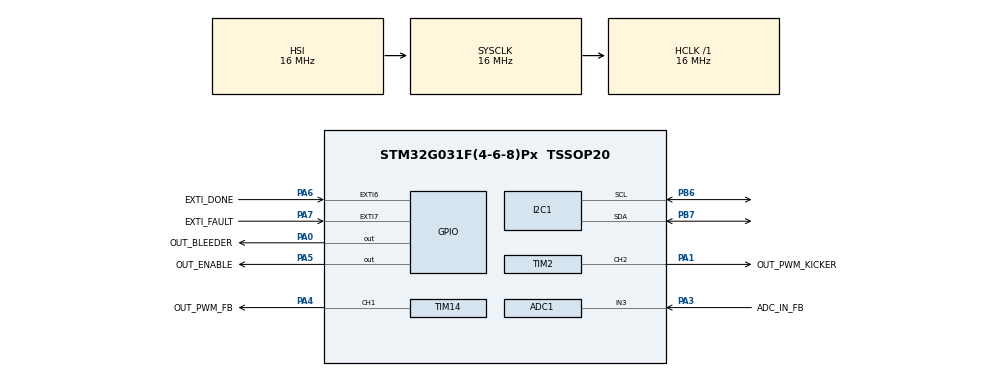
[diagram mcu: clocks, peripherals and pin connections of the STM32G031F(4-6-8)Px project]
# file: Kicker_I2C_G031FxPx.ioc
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ADC1.Channel-0\#ChannelRegularConversion=ADC_CHANNEL_3
ADC1.ContinuousConvMode=ENABLE
ADC1.DMAContinuousRequests=ENABLE
ADC1.NbrOfConversionFlag=1
ADC1.Rank-0\#ChannelRegularConversion=1
ADC1.SamplingTime-0\#ChannelRegularConversion=ADC_SAMPLINGTIME_COMMON_1
ADC1.SamplingTimeCommon1=ADC_SAMPLETIME_160CYCLES_5
ADC1.SamplingTimeCommon2=ADC_SAMPLETIME_160CYCLES_5
ADC1.SelectedChannel=ADC_CHANNEL_3
ADC1.master=1
Dma.ADC1.0.Direction=DMA_PERIPH_TO_MEMORY
Dma.ADC1.0.EventEnable=DISABLE
Dma.ADC1.0.Instance=DMA1_Channel1
Dma.ADC1.0.MemDataAlignment=DMA_MDATAALIGN_HALFWORD
Dma.ADC1.0.MemInc=DMA_MINC_ENABLE
Dma.ADC1.0.Mode=DMA_CIRCULAR
Dma.ADC1.0.PeriphDataAlignment=DMA_PDATAALIGN_HALFWORD
Dma.ADC1.0.PeriphInc=DMA_PINC_DISABLE
Dma.ADC1.0.Polarity=HAL_DMAMUX_REQ_GEN_RISING
Dma.ADC1.0.Priority=DMA_PRIORITY_LOW
Dma.ADC1.0.RequestNumber=1
Dma.ADC1.0.SignalID=NONE
Dma.ADC1.0.SyncEnable=DISABLE
Dma.ADC1.0.SyncPolarity=HAL_DMAMUX_SYNC_NO_EVENT
Dma.ADC1.0.SyncRequestNumber=1
Dma.ADC1.0.SyncSignalID=NONE
Dma.Request0=ADC1
I2C1.OwnAddress=0x27
I2C1.Timing=0x00503D58
Mcu.Family=STM32G0
Mcu.Name=STM32G031F(4-6-8)Px
Mcu.Package=TSSOP20
NVIC.DMA1_Channel1_IRQn=true\:0\:0\:false\:false\:true\:false\:true\:true
NVIC.EXTI4_15_IRQn=true\:0\:0\:false\:false\:true\:true\:true\:true
NVIC.I2C1_IRQn=true\:0\:0\:false\:false\:true\:true\:true\:true
NVIC.TIM3_IRQn=true\:0\:0\:false\:false\:true\:true\:true\:true
PA0.GPIO_Label=OUT_BLEEDER
PA0.Signal=GPIO_Output
PA1.GPIO_Label=OUT_PWM_KICKER
PA1.Signal=S_TIM2_CH2
PA13.Mode=Serial_Wire
PA13.Signal=SYS_SWDIO
PA14-BOOT0.Mode=Serial_Wire
PA14-BOOT0.Signal=SYS_SWCLK
PA14-BOOT0__PA15.StandardMode=true
PA3.GPIO_Label=ADC_IN_FB
PA3.Mode=IN3
PA3.Signal=ADC1_IN3
PA4.GPIO_Label=OUT_PWM_FB
PA4.Signal=S_TIM14_CH1
PA5.GPIO_Label=OUT_ENABLE
PA5.Signal=GPIO_Output
PA6.GPIO_Label=EXTI_DONE
PA6.GPIO_ModeDefaultEXTI=GPIO_MODE_IT_RISING_FALLING
PA6.Signal=GPXTI6
PA7.GPIO_Label=EXTI_FAULT
PA7.GPIO_ModeDefaultEXTI=GPIO_MODE_IT_RISING_FALLING
PA7.Signal=GPXTI7
PB0__PB1__PB2__PA8.StandardMode=true
PB3__PB4__PB5__PB6.StandardMode=true
PB6.Mode=I2C
PB6.Signal=I2C1_SCL
PB7.Mode=I2C
PB7.Signal=I2C1_SDA
PB7__PB8.StandardMode=true
PC14-OSC32_IN\ (PC14)__PB9.StandardMode=true
ProjectManager.HeapSize=0x200
ProjectManager.StackSize=0x400
ProjectManager.TargetToolchain=STM32CubeIDE
RCC.AHBFreq_Value=16000000
RCC.CortexFreq_Value=16000000
RCC.EXTERNAL_CLOCK_VALUE=12288000
RCC.HCLKFreq_Value=16000000
RCC.HSE_VALUE=8000000
RCC.HSI_VALUE=16000000
RCC.LSE_VALUE=32768
RCC.SYSCLKFreq_VALUE=16000000
RCC.VCOOutputFreq_Value=128000000
SH.S_TIM14_CH1.0=TIM14_CH1,PWM Generation1 CH1
SH.S_TIM2_CH2.0=TIM2_CH2,PWM Generation2 CH2
TIM14.Channel=TIM_CHANNEL_1
TIM14.Period=1000 - 1
TIM2.Channel-PWM\ Generation2\ CH2=TIM_CHANNEL_2
TIM2.OCMode_PWM-PWM\ Generation2\ CH2=TIM_OCMODE_PWM2
TIM2.Period=1000 - 1
TIM2.Prescaler=0
TIM2.Pulse-PWM\ Generation2\ CH2=1000
TIM3.Period=5000 - 1
TIM3.Prescaler=16000-1
TIM3.TIM_MasterOutputTrigger=TIM_TRGO_ENABLE
VP_TIM14_VS_ClockSourceINT.Mode=Enable_Timer
VP_TIM2_VS_ClockSourceINT.Mode=Internal
VP_TIM2_VS_ClockSourceITR.Mode=TriggerSource_ITR2
VP_TIM2_VS_ControllerModeGated.Mode=Gated Mode
VP_TIM3_VS_ClockSourceINT.Mode=Internal
VP_TIM3_VS_OPM.Mode=OPM_bit
board=custom

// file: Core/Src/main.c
/* USER CODE BEGIN Header */
/**
  ******************************************************************************
  * @file           : main.c
  * @brief          : Main program body
  ******************************************************************************
  * @attention
  *
  * Copyright (c) 2026 STMicroelectronics.
  * All rights reserved.
  *
  * This software is licensed under terms that can be found in the LICENSE file
  * in the root directory of this software component.
  * If no LICENSE file comes with this software, it is provided AS-IS.
  *
  ******************************************************************************
  */
/* USER CODE END Header */
#include "main.h"

/* USER CODE BEGIN PD */

#define I2C_SLAVE_ADDR 0x27

/*
 * Mapa de Registradores do Kicker
 * Registradores de escrita e/ou leitura
 * */
#define REG_VERSION         0x00
#define REG_BOARD_STATUS    0x01
#define REG_FB_DUTY         0X02
#define REG_VSEC            0x03
#define REG_VSEC_SET        0x04
#define REG_KICK_DURATION   0x05
#define REG_KICK_DUTY       0x06
#define REG_VPRI_1          0x07
#define REG_VPRI_2          0x08

/*
 * Registradores de comando
 * */
#define REG_BOARD_RESET     0xA0
#define REG_CHARGE_ENABLE   0xA1
#define REG_KICK_START      0xA2
#define REG_BLEEDER_ENABLE  0xA3

/*
 * Mascaras de status da placa
 * */
#define BOARD_STATUS_CHARGE               (1U << 0)
#define BOARD_STATUS_KICK                 (1U << 1)
#define BOARD_STATUS_BLEEDER              (1U << 2)
#define BOARD_STATUS_FAULT                (1U << 3)
#define BOARD_STATUS_DONE                 (1U << 4)
#define BOARD_STATUS_OV_TRIP              (1U << 5)
#define BOARD_STATUS_I2C_LAST_REG_ERROR   (1U << 6)
#define BOARD_STATUS_I2C_LAST_VALUE_ERROR (1U << 7)

/*
 * Comandos de start e stop
 * */
#define COMMAND_STOP  0x00
#define COMMAND_START 0x01

/*
 * Limites dos registradores
 * */
#define V_SEC_SET_MIN       48U     /* Tensao minima permitida como setpoint */
#define V_SEC_SET_MAX       180U    /* Tensao maxima permitida como setpoint */
#define KICK_DURATION_MIN   1U	 	/* Duracao minima do chute, em ms */
#define KICK_DURATION_MAX   255U	/* Duracao maxima do chute, em ms */
#define KICK_DUTY_MIN       10U		/* Duty minimo do chute, em % */
#define KICK_DUTY_MAX       100U	/* Duty maximno do chute, em % */

/*
 * Limites internos de calculos
 * */

/*
 * Medicao de tensao
 */
#define V_SEC_MAX           3500U   /* Tensao de seguranca para o OV_TRIP */
#define ADC_VSEC_CAL        0U	    /* Calibração de zero do ADC */
#define V_ANALOG_MAX_MV     3300U   /* Referencia tensao analogica, em mV */
#define ANALOG_RESOLUTION   4095U   /* Resolucao do ADC */

/*
 * Feedback
 */
#define PWM_FB_DUTY_SETPOINT 369U   /* Duty na regiao de regulacao */
#define PWM_FB_DUTY_MAX      1000U  /* CCR maximo do PWM do FB */

/*
 * Kick
 */
#define KICK_PWM_CCR_MAX    1000U  /* CCR maximo do PWM do kick */

/* USER CODE END PD */

ADC_HandleTypeDef hadc1;
DMA_HandleTypeDef hdma_adc1;

I2C_HandleTypeDef hi2c1;

TIM_HandleTypeDef htim2;
TIM_HandleTypeDef htim3;
TIM_HandleTypeDef htim14;

/* USER CODE BEGIN PV */

uint8_t tx_byte;
uint8_t rx_byte;
uint8_t rx_bytes_count = 0;
uint8_t reg_index;

volatile uint8_t board_version = 1;
volatile uint8_t board_status = 0;
volatile uint8_t v_sec = 0;
volatile uint8_t v_sec_set= 48;
volatile uint8_t fb_duty = 0;

volatile uint8_t kick_duration = 100;
volatile uint8_t kick_duty = 50;

volatile uint8_t v_pri_1 = 0;
volatile uint8_t v_pri_2 = 0;
volatile uint8_t i_pri = 0;

volatile uint8_t start_kick = 0;
volatile uint8_t enable_charge = 0;
volatile uint8_t enable_bleeder= 0;

volatile uint8_t has_update = 0;
volatile uint8_t  reg_to_update = 0;
volatile uint8_t value_to_update = 0;

volatile uint16_t adc_raw_vcap = 0;

volatile uint16_t adc_raw_v_sec = 0;
volatile uint32_t v_sec_adc_mv = 0;
volatile uint32_t fb_duty_calc = 0;

volatile uint8_t kick_finished = 0;

volatile uint8_t * const registers[] =
{
	&board_version,
	&board_status,
	&fb_duty,
	&v_sec,
	&v_sec_set,
	&kick_duration,
	&kick_duty,
	&v_pri_1,
	&v_pri_2,
	&i_pri
};

volatile uint16_t kick_pwm_ccr_max = 0;

uint8_t read_reg_count = sizeof(registers) / sizeof(registers[0]);

volatile uint8_t fault_pin_low = 0;

/* USER CODE END PV */

void SystemClock_Config(void);
static void MX_GPIO_Init(void);
static void MX_DMA_Init(void);
static void MX_I2C1_Init(void);
static void MX_ADC1_Init(void);
static void MX_TIM2_Init(void);
static void MX_TIM3_Init(void);
static void MX_TIM14_Init(void);
/* USER CODE BEGIN PFP */

void Board_Reset();
void Board_Charge_Enable();
void Board_Charge_Disable();
void Board_Bleeder_Enable();
void Board_Bleeder_Disable();
void Board_Kick_Start();
void Board_Kick_Stop();
void Board_Kick_Off();
void Board_Kick_Set_PWM(uint8_t duty);
void Board_Kick_Set_Pulse_Duration(uint8_t duration);
void Board_Kick_Pulse_Stop();

void Board_FB_Calculate();
void Board_FB_Idle();

void Board_Status_Set_Flag(uint8_t flag_mask);
void Board_Status_Clear_Flag(uint8_t flag_mask);
uint8_t Board_Status_Get_Flag(uint8_t flag_mask);

void Board_Vsec_Calculate();

void Board_OV_Trip_Verify();

/* USER CODE END PFP */

/* USER CODE BEGIN 0 */

void Board_Reset()
{
	Board_Charge_Disable();
	Board_Bleeder_Enable();
	Board_Status_Clear_Flag(BOARD_STATUS_OV_TRIP);
	Board_Status_Clear_Flag(BOARD_STATUS_I2C_LAST_REG_ERROR);
	Board_Status_Clear_Flag(BOARD_STATUS_I2C_LAST_VALUE_ERROR);
}

void Board_Charge_Enable()
{
	uint8_t ov_trip = Board_Status_Get_Flag(BOARD_STATUS_OV_TRIP);
	uint8_t fault = Board_Status_Get_Flag(BOARD_STATUS_FAULT);

//	if (!ov_trip && !fault)
	if (!ov_trip)
	{
	  Board_Bleeder_Disable();
	  HAL_GPIO_WritePin(OUT_ENABLE_GPIO_Port, OUT_ENABLE_Pin, GPIO_PIN_SET);
	  Board_Status_Set_Flag(BOARD_STATUS_CHARGE);
	}
}

void Board_Charge_Disable()
{
	HAL_GPIO_WritePin(OUT_ENABLE_GPIO_Port, OUT_ENABLE_Pin, GPIO_PIN_RESET);
	Board_Status_Clear_Flag(BOARD_STATUS_CHARGE);
	Board_FB_Idle();
}

void Board_Bleeder_Enable()
{
	Board_Charge_Disable();
	HAL_GPIO_WritePin(
			OUT_BLEEDER_GPIO_Port,
			OUT_BLEEDER_Pin,
			GPIO_PIN_RESET
			);
	Board_Status_Set_Flag(BOARD_STATUS_BLEEDER);
}

void Board_Bleeder_Disable()
{
	HAL_GPIO_WritePin(
			OUT_BLEEDER_GPIO_Port,
			OUT_BLEEDER_Pin,
			GPIO_PIN_SET
			);
	Board_Status_Clear_Flag(BOARD_STATUS_BLEEDER);
}

void Board_Kick_Start()
{
	Board_Charge_Disable();
    kick_finished = 0;
    Board_Kick_Set_PWM(kick_duty);
    Board_Kick_Set_Pulse_Duration(kick_duration);
//    Board_Status_Set_Flag(BOARD_STATUS_KICK);
}

void Board_Kick_Stop()
{
	Board_Kick_Off();
	Board_Kick_Pulse_Stop();
//	Board_Status_Clear_Flag(BOARD_STATUS_KICK);
//	Board_Charge_Enable();
}

void Board_Kick_Off()
{
	Board_Kick_Set_PWM(0U);
	Board_Kick_Pulse_Stop();
//	Board_Status_Clear_Flag(BOARD_STATUS_KICK);
}

/*
 * Configura o TIM2 para gerar um PWM com um determinado duty.
 * PWM Modo 2 é invertido - CCR máximo é duty zero, e vice-versa.
 * Atualiza o CCR para o registrador ativo e limpa a flag de update.
 */
void Board_Kick_Set_PWM(uint8_t duty)
{
	/* Seta o registrador CCR */
	uint16_t ccr = (uint16_t)(kick_pwm_ccr_max - (duty * 10));
	__HAL_TIM_SET_COMPARE(&htim2, TIM_CHANNEL_2, ccr);
	__HAL_TIM_SET_COUNTER(&htim2, 0);

	/* Atualiza o novo CCR para o registrador ativo no PWM*/
	HAL_TIM_GenerateEvent(&htim2, TIM_EVENTSOURCE_UPDATE);

	/* Limpa a tag de atualização, pois não querenmos tratá-la */
    __HAL_TIM_CLEAR_FLAG(&htim2, TIM_FLAG_UPDATE);
}

/*
 * Configura o TIM3 para gerar um pulso com a duracao do chute.
 */
void Board_Kick_Set_Pulse_Duration(uint8_t duration)
{
   __HAL_TIM_SET_AUTORELOAD(&htim3, duration);
   __HAL_TIM_SET_COUNTER(&htim3, 0);
   __HAL_TIM_CLEAR_FLAG(&htim3, TIM_FLAG_UPDATE);

   /* Inicia o TIM_3 (gerador de pulsos) */
   HAL_TIM_Base_Start_IT(&htim3);
}

/*
 * Força o stop do gerador de pulsos do kick
 */
void Board_Kick_Pulse_Stop()
{
	/*
	 * Interrompe o TIM_3 (gerador de pulsos)
	 * Zera o contador
	 * Limpa o flag de update
	 *
	 */
    HAL_TIM_Base_Stop_IT(&htim3);
    __HAL_TIM_SET_COUNTER(&htim3, 0U);
    __HAL_TIM_CLEAR_FLAG(&htim3, TIM_FLAG_UPDATE);
}

void Board_FB_Calculate()
{
	/* Se o setpoint for zero, mantém o feedback em Idle */
    if (v_sec_set == 0)
    {
        Board_FB_Idle();
        return;
    }

    /* Obtém o duty utilizado para calculos internos,
     * com resolucao de 32 bits para evitar overflow. */
	fb_duty_calc  = ((uint32_t)(v_sec_adc_mv * PWM_FB_DUTY_SETPOINT) / (uint32_t)(v_sec_set * 10));

	/* Saturacao do duty maximo */
	if (fb_duty_calc > PWM_FB_DUTY_MAX)
	{
	  fb_duty_calc = PWM_FB_DUTY_MAX;
	}

	/* Seta o CCR com o duty calculado */
	__HAL_TIM_SET_COMPARE(
			&htim14,
			TIM_CHANNEL_1,
			(uint16_t) fb_duty_calc
			);

	// Converte o duty para o registrador de 8 bits
	fb_duty = (uint8_t)(fb_duty_calc / 10U);
}

void Board_FB_Idle()
{
	__HAL_TIM_SET_COMPARE(&htim14, TIM_CHANNEL_1, PWM_FB_DUTY_MAX);
	fb_duty = 100;
}

void Board_Status_Set_Flag(uint8_t flag_mask)
{
	board_status |= flag_mask;
}

void Board_Status_Clear_Flag(uint8_t flag_mask)
{
	board_status &= ~flag_mask;
}

uint8_t Board_Status_Get_Flag(uint8_t flag_mask)
{
  return ((board_status & flag_mask) != 0U);
}

void Board_Vsec_Calculate()
{
	/* Obtem a tensao no adc do secundario em mv,
	 * utilizado nos calculos internos */
	v_sec_adc_mv = ((uint32_t)adc_raw_v_sec * V_ANALOG_MAX_MV) / ANALOG_RESOLUTION;

	// Converte para o v_sec de 8 bits, utilizado no I2C
	v_sec = (v_sec_adc_mv > 2550) ? 255 : (uint8_t)(v_sec_adc_mv / 10);

}

void Board_OV_Trip_Verify()
{
	if ( v_sec_adc_mv > V_SEC_MAX &&
			Board_Status_Get_Flag(BOARD_STATUS_OV_TRIP) == 0U
			)
	{
	/* Ativa o trip por tensao alta */
	Board_Status_Set_Flag(BOARD_STATUS_OV_TRIP);
	}
}

/* USER CODE END 0 */

int main(void)
{

  /* MCU Configuration--------------------------------------------------------*/

  /* Reset of all peripherals, Initializes the Flash interface and the Systick. */
  HAL_Init();

  /* Configure the system clock */
  SystemClock_Config();

  /* Initialize all configured peripherals */
  MX_GPIO_Init();
  MX_DMA_Init();
  MX_I2C1_Init();
  MX_ADC1_Init();
  MX_TIM2_Init();
  MX_TIM3_Init();
  MX_TIM14_Init();
  /* USER CODE BEGIN 2 */

  if (HAL_ADCEx_Calibration_Start(&hadc1) != HAL_OK)
  {
      Error_Handler();
  }

  HAL_ADC_Start_DMA(&hadc1, (uint32_t *)&adc_raw_vcap, 1);
  __HAL_DMA_DISABLE_IT(&hdma_adc1, DMA_IT_HT);
  __HAL_DMA_DISABLE_IT(&hdma_adc1, DMA_IT_TC);

  HAL_I2C_EnableListen_IT(&hi2c1);

  __HAL_TIM_SET_COMPARE(&htim14, TIM_CHANNEL_1, 0);
  HAL_TIM_PWM_Start(&htim14, TIM_CHANNEL_1);

  kick_pwm_ccr_max = __HAL_TIM_GET_AUTORELOAD(&htim2) + 1;
  __HAL_TIM_SET_COMPARE(&htim2, TIM_CHANNEL_2, kick_pwm_ccr_max);
  HAL_TIM_PWM_Start(&htim2, TIM_CHANNEL_2);

  Board_Bleeder_Enable();

  kick_duration = 100;
  kick_duty = 100;
  v_sec_set = 48;

//	HAL_TIM_PWM_Start(&htim2, TIM_CHANNEL_1);

  /* USER CODE END 2 */

  /* Infinite loop */
  /* USER CODE BEGIN WHILE */
  while (1)
  {
	  Board_Vsec_Calculate();
	  Board_FB_Calculate();
	  Board_OV_Trip_Verify();

	  /* Trip por tensao alta
	   * Desabilita a carga e descarrega os capacitores pelo bleeder
	   */
	  if (Board_Status_Get_Flag(BOARD_STATUS_OV_TRIP))
	  {
		  if (Board_Status_Get_Flag(BOARD_STATUS_CHARGE))
		  {
			  Board_Charge_Disable();
		  }
		  Board_Bleeder_Enable();
	  }

	  /* Atuacao do fault ou done
	   * Apenas desabilita o carregamento
	   */

	  /*
	  if (Board_Status_Get_Flag(BOARD_STATUS_DONE)  ||
		  Board_Status_Get_Flag(BOARD_STATUS_FAULT)
		  )
	  {
		  if (Board_Status_Get_Flag(BOARD_STATUS_CHARGE))
		  {
			  Board_Charge_Disable();
		  }
	  }
	  */

	  /* Situacao normal
	   * Gera o sinal de feedback
	   */

	  if (Board_Status_Get_Flag(BOARD_STATUS_CHARGE))
	  {

	  }

	  if (has_update)
	  {
		  has_update = 0;

		  switch(reg_to_update)
		  {

		  	  case (REG_VSEC_SET):
				  if (value_to_update >= 0 && value_to_update <= V_SEC_SET_MAX)
				  {
					  v_sec_set = value_to_update;
				  }
				  else
				  {
					  board_status |= BOARD_STATUS_I2C_LAST_VALUE_ERROR;				/* Seta o flag de erro de valor I2c */
				  }
		  	  break;
		  	  case (REG_KICK_DURATION):
				  if (value_to_update >= KICK_DURATION_MIN && value_to_update <= KICK_DURATION_MAX)
				  {
					  kick_duration = value_to_update;
				  }
				  else
				  {
					  board_status |= BOARD_STATUS_I2C_LAST_VALUE_ERROR;				/* Seta o flag de erro de valor I2c */
				  }
		  	  break;
		  	  case (REG_KICK_DUTY):
				  if (value_to_update >= KICK_DUTY_MIN && value_to_update <= KICK_DUTY_MAX)
				  {
					  kick_duty = value_to_update;
				  }
				  else
				  {
					  board_status |= BOARD_STATUS_I2C_LAST_VALUE_ERROR;				/* Seta o flag de erro de valor I2c */
				  }
		  	  break;

		  	  case (REG_KICK_START):
				  if (value_to_update == COMMAND_START)
				  {
					  if (!(board_status & BOARD_STATUS_KICK))
					  {
						  Board_Kick_Start();
					  }
				  }
				  else if (value_to_update == COMMAND_STOP)
				  {
					  if (board_status & BOARD_STATUS_KICK)
					  {
						  Board_Kick_Stop();
					  }
				  }
				  else
				  {
					  board_status |= BOARD_STATUS_I2C_LAST_VALUE_ERROR;				/* Seta o flag de erro de valor I2c */
				  }
		  	  break;

		  	  case (REG_CHARGE_ENABLE):
				  if (value_to_update == COMMAND_START)
				  {
					  if (!(board_status & BOARD_STATUS_CHARGE))
					  {
						  Board_Charge_Enable();
					  }
				  }
				  else if (value_to_update == COMMAND_STOP)
				  {
					  if (board_status & BOARD_STATUS_CHARGE)
					  {
						  Board_Charge_Disable();
					  }
				  }
				  else
				  {
					  board_status |= BOARD_STATUS_I2C_LAST_VALUE_ERROR;				/* Seta o flag de erro de valor I2c */
				  }
		  	  break;

		  	  case (REG_BLEEDER_ENABLE):
				  if (value_to_update == COMMAND_START)
				  {
					  if (!(board_status & BOARD_STATUS_BLEEDER))
					  {
						  Board_Bleeder_Enable();
					  }
				  }
				  else if (value_to_update == COMMAND_STOP)
				  {
					  if (board_status & BOARD_STATUS_BLEEDER)
					  {
						  Board_Bleeder_Disable();
					  }
				  }
				  else
				  {
					  board_status |= BOARD_STATUS_I2C_LAST_VALUE_ERROR;				/* Seta o flag de erro de valor I2c */
				  }
		  	  break;

		  	  case (REG_BOARD_RESET):
				  if (value_to_update == COMMAND_START)
				  {
					  Board_Reset();
				  }
				  else
				  {
					  board_status |= BOARD_STATUS_I2C_LAST_VALUE_ERROR;				/* Seta o flag de erro de valor I2c */
				  }
		  	  break;

		  	  default:
		  		  board_status |= BOARD_STATUS_I2C_LAST_REG_ERROR;				/* Seta o flag de erro de registrador I2c */
              break;

		  }

	  }

    /* USER CODE END WHILE */

  }
}

void SystemClock_Config(void)
{
  RCC_OscInitTypeDef RCC_OscInitStruct = {0};
  RCC_ClkInitTypeDef RCC_ClkInitStruct = {0};

  /** Configure the main internal regulator output voltage
  */
  HAL_PWREx_ControlVoltageScaling(PWR_REGULATOR_VOLTAGE_SCALE1);

  /** Initializes the RCC Oscillators according to the specified parameters
  * in the RCC_OscInitTypeDef structure.
  */
  RCC_OscInitStruct.OscillatorType = RCC_OSCILLATORTYPE_HSI;
  RCC_OscInitStruct.HSIState = RCC_HSI_ON;
  RCC_OscInitStruct.HSIDiv = RCC_HSI_DIV1;
  RCC_OscInitStruct.HSICalibrationValue = RCC_HSICALIBRATION_DEFAULT;
  RCC_OscInitStruct.PLL.PLLState = RCC_PLL_NONE;
  if (HAL_RCC_OscConfig(&RCC_OscInitStruct) != HAL_OK)
  {
    Error_Handler();
  }

  /** Initializes the CPU, AHB and APB buses clocks
  */
  RCC_ClkInitStruct.ClockType = RCC_CLOCKTYPE_HCLK|RCC_CLOCKTYPE_SYSCLK
                              |RCC_CLOCKTYPE_PCLK1;
  RCC_ClkInitStruct.SYSCLKSource = RCC_SYSCLKSOURCE_HSI;
  RCC_ClkInitStruct.AHBCLKDivider = RCC_SYSCLK_DIV1;
  RCC_ClkInitStruct.APB1CLKDivider = RCC_HCLK_DIV1;

  if (HAL_RCC_ClockConfig(&RCC_ClkInitStruct, FLASH_LATENCY_0) != HAL_OK)
  {
    Error_Handler();
  }
}

static void MX_ADC1_Init(void)
{

  ADC_ChannelConfTypeDef sConfig = {0};

  /** Configure the global features of the ADC (Clock, Resolution, Data Alignment and number of conversion)
  */
  hadc1.Instance = ADC1;
  hadc1.Init.ClockPrescaler = ADC_CLOCK_SYNC_PCLK_DIV2;
  hadc1.Init.Resolution = ADC_RESOLUTION_12B;
  hadc1.Init.DataAlign = ADC_DATAALIGN_RIGHT;
  hadc1.Init.ScanConvMode = ADC_SCAN_DISABLE;
  hadc1.Init.EOCSelection = ADC_EOC_SINGLE_CONV;
  hadc1.Init.LowPowerAutoWait = DISABLE;
  hadc1.Init.LowPowerAutoPowerOff = DISABLE;
  hadc1.Init.ContinuousConvMode = ENABLE;
  hadc1.Init.NbrOfConversion = 1;
  hadc1.Init.ExternalTrigConv = ADC_SOFTWARE_START;
  hadc1.Init.ExternalTrigConvEdge = ADC_EXTERNALTRIGCONVEDGE_NONE;
  hadc1.Init.DMAContinuousRequests = ENABLE;
  hadc1.Init.Overrun = ADC_OVR_DATA_PRESERVED;
  hadc1.Init.SamplingTimeCommon1 = ADC_SAMPLETIME_160CYCLES_5;
  hadc1.Init.SamplingTimeCommon2 = ADC_SAMPLETIME_160CYCLES_5;
  hadc1.Init.OversamplingMode = DISABLE;
  hadc1.Init.TriggerFrequencyMode = ADC_TRIGGER_FREQ_HIGH;
  if (HAL_ADC_Init(&hadc1) != HAL_OK)
  {
    Error_Handler();
  }

  /** Configure Regular Channel
  */
  sConfig.Channel = ADC_CHANNEL_3;
  sConfig.Rank = ADC_REGULAR_RANK_1;
  sConfig.SamplingTime = ADC_SAMPLINGTIME_COMMON_1;
  if (HAL_ADC_ConfigChannel(&hadc1, &sConfig) != HAL_OK)
  {
    Error_Handler();
  }

}

static void MX_I2C1_Init(void)
{

  hi2c1.Instance = I2C1;
  hi2c1.Init.Timing = 0x00503D58;
  hi2c1.Init.OwnAddress1 = 78;
  hi2c1.Init.AddressingMode = I2C_ADDRESSINGMODE_7BIT;
  hi2c1.Init.DualAddressMode = I2C_DUALADDRESS_DISABLE;
  hi2c1.Init.OwnAddress2 = 0;
  hi2c1.Init.OwnAddress2Masks = I2C_OA2_NOMASK;
  hi2c1.Init.GeneralCallMode = I2C_GENERALCALL_DISABLE;
  hi2c1.Init.NoStretchMode = I2C_NOSTRETCH_DISABLE;
  if (HAL_I2C_Init(&hi2c1) != HAL_OK)
  {
    Error_Handler();
  }

  /** Configure Analogue filter
  */
  if (HAL_I2CEx_ConfigAnalogFilter(&hi2c1, I2C_ANALOGFILTER_ENABLE) != HAL_OK)
  {
    Error_Handler();
  }

  /** Configure Digital filter
  */
  if (HAL_I2CEx_ConfigDigitalFilter(&hi2c1, 0) != HAL_OK)
  {
    Error_Handler();
  }

}

static void MX_TIM2_Init(void)
{

  TIM_ClockConfigTypeDef sClockSourceConfig = {0};
  TIM_SlaveConfigTypeDef sSlaveConfig = {0};
  TIM_MasterConfigTypeDef sMasterConfig = {0};
  TIM_OC_InitTypeDef sConfigOC = {0};

  htim2.Instance = TIM2;
  htim2.Init.Prescaler = 0;
  htim2.Init.CounterMode = TIM_COUNTERMODE_UP;
  htim2.Init.Period = 1000 - 1;
  htim2.Init.ClockDivision = TIM_CLOCKDIVISION_DIV1;
  htim2.Init.AutoReloadPreload = TIM_AUTORELOAD_PRELOAD_DISABLE;
  if (HAL_TIM_Base_Init(&htim2) != HAL_OK)
  {
    Error_Handler();
  }
  sClockSourceConfig.ClockSource = TIM_CLOCKSOURCE_INTERNAL;
  if (HAL_TIM_ConfigClockSource(&htim2, &sClockSourceConfig) != HAL_OK)
  {
    Error_Handler();
  }
  if (HAL_TIM_PWM_Init(&htim2) != HAL_OK)
  {
    Error_Handler();
  }
  sSlaveConfig.SlaveMode = TIM_SLAVEMODE_GATED;
  sSlaveConfig.InputTrigger = TIM_TS_ITR2;
  if (HAL_TIM_SlaveConfigSynchro(&htim2, &sSlaveConfig) != HAL_OK)
  {
    Error_Handler();
  }
  sMasterConfig.MasterOutputTrigger = TIM_TRGO_RESET;
  sMasterConfig.MasterSlaveMode = TIM_MASTERSLAVEMODE_DISABLE;
  if (HAL_TIMEx_MasterConfigSynchronization(&htim2, &sMasterConfig) != HAL_OK)
  {
    Error_Handler();
  }
  sConfigOC.OCMode = TIM_OCMODE_PWM2;
  sConfigOC.Pulse = 1000;
  sConfigOC.OCPolarity = TIM_OCPOLARITY_HIGH;
  sConfigOC.OCFastMode = TIM_OCFAST_DISABLE;
  if (HAL_TIM_PWM_ConfigChannel(&htim2, &sConfigOC, TIM_CHANNEL_2) != HAL_OK)
  {
    Error_Handler();
  }
  HAL_TIM_MspPostInit(&htim2);

}

static void MX_TIM3_Init(void)
{

  TIM_ClockConfigTypeDef sClockSourceConfig = {0};
  TIM_MasterConfigTypeDef sMasterConfig = {0};

  htim3.Instance = TIM3;
  htim3.Init.Prescaler = 16000-1;
  htim3.Init.CounterMode = TIM_COUNTERMODE_UP;
  htim3.Init.Period = 5000 - 1;
  htim3.Init.ClockDivision = TIM_CLOCKDIVISION_DIV1;
  htim3.Init.AutoReloadPreload = TIM_AUTORELOAD_PRELOAD_DISABLE;
  if (HAL_TIM_Base_Init(&htim3) != HAL_OK)
  {
    Error_Handler();
  }
  sClockSourceConfig.ClockSource = TIM_CLOCKSOURCE_INTERNAL;
  if (HAL_TIM_ConfigClockSource(&htim3, &sClockSourceConfig) != HAL_OK)
  {
    Error_Handler();
  }
  if (HAL_TIM_OnePulse_Init(&htim3, TIM_OPMODE_SINGLE) != HAL_OK)
  {
    Error_Handler();
  }
  sMasterConfig.MasterOutputTrigger = TIM_TRGO_ENABLE;
  sMasterConfig.MasterSlaveMode = TIM_MASTERSLAVEMODE_DISABLE;
  if (HAL_TIMEx_MasterConfigSynchronization(&htim3, &sMasterConfig) != HAL_OK)
  {
    Error_Handler();
  }

}

static void MX_TIM14_Init(void)
{

  TIM_OC_InitTypeDef sConfigOC = {0};

  htim14.Instance = TIM14;
  htim14.Init.Prescaler = 0;
  htim14.Init.CounterMode = TIM_COUNTERMODE_UP;
  htim14.Init.Period = 1000 - 1;
  htim14.Init.ClockDivision = TIM_CLOCKDIVISION_DIV1;
  htim14.Init.AutoReloadPreload = TIM_AUTORELOAD_PRELOAD_DISABLE;
  if (HAL_TIM_Base_Init(&htim14) != HAL_OK)
  {
    Error_Handler();
  }
  if (HAL_TIM_PWM_Init(&htim14) != HAL_OK)
  {
    Error_Handler();
  }
  sConfigOC.OCMode = TIM_OCMODE_PWM1;
  sConfigOC.Pulse = 0;
  sConfigOC.OCPolarity = TIM_OCPOLARITY_HIGH;
  sConfigOC.OCFastMode = TIM_OCFAST_DISABLE;
  if (HAL_TIM_PWM_ConfigChannel(&htim14, &sConfigOC, TIM_CHANNEL_1) != HAL_OK)
  {
    Error_Handler();
  }
  HAL_TIM_MspPostInit(&htim14);

}

static void MX_DMA_Init(void)
{

  /* DMA controller clock enable */
  __HAL_RCC_DMA1_CLK_ENABLE();

  /* DMA interrupt init */
  /* DMA1_Channel1_IRQn interrupt configuration */
  HAL_NVIC_SetPriority(DMA1_Channel1_IRQn, 0, 0);
  HAL_NVIC_EnableIRQ(DMA1_Channel1_IRQn);

}

static void MX_GPIO_Init(void)
{
  GPIO_InitTypeDef GPIO_InitStruct = {0};

  /* GPIO Ports Clock Enable */
  __HAL_RCC_GPIOB_CLK_ENABLE();
  __HAL_RCC_GPIOA_CLK_ENABLE();

  /*Configure GPIO pin Output Level */
  HAL_GPIO_WritePin(GPIOA, OUT_BLEEDER_Pin|OUT_ENABLE_Pin, GPIO_PIN_RESET);

  /*Configure GPIO pins : OUT_BLEEDER_Pin OUT_ENABLE_Pin */
  GPIO_InitStruct.Pin = OUT_BLEEDER_Pin|OUT_ENABLE_Pin;
  GPIO_InitStruct.Mode = GPIO_MODE_OUTPUT_PP;
  GPIO_InitStruct.Pull = GPIO_NOPULL;
  GPIO_InitStruct.Speed = GPIO_SPEED_FREQ_LOW;
  HAL_GPIO_Init(GPIOA, &GPIO_InitStruct);

  /*Configure GPIO pins : EXTI_DONE_Pin EXTI_FAULT_Pin */
  GPIO_InitStruct.Pin = EXTI_DONE_Pin|EXTI_FAULT_Pin;
  GPIO_InitStruct.Mode = GPIO_MODE_IT_RISING_FALLING;
  GPIO_InitStruct.Pull = GPIO_NOPULL;
  HAL_GPIO_Init(GPIOA, &GPIO_InitStruct);

  /* EXTI interrupt init*/
  HAL_NVIC_SetPriority(EXTI4_15_IRQn, 0, 0);
  HAL_NVIC_EnableIRQ(EXTI4_15_IRQn);

}

/* USER CODE BEGIN 4 */

void HAL_I2C_AddrCallback(
		I2C_HandleTypeDef *hi2c,
		uint8_t transfer_direction,
		uint16_t addr_match_code
		)
{
	if (hi2c->Instance != I2C1)
	{
		return;
	}

	/* Master quer gravar no slave.
	 * Byte seguinte sera o indice do registrador
	 */
	if (transfer_direction == I2C_DIRECTION_TRANSMIT)
	{
		rx_bytes_count = 0;
		HAL_I2C_Slave_Seq_Receive_IT(hi2c, &rx_byte, 1, I2C_FIRST_AND_NEXT_FRAME);
	}

	/* Master quer ler no slave. */
	else if (transfer_direction == I2C_DIRECTION_RECEIVE)
	{
		tx_byte = 0;

		if (reg_index < read_reg_count)
		{
			tx_byte = *registers[reg_index];
		}

		HAL_I2C_Slave_Seq_Transmit_IT(
				hi2c,
				&tx_byte,
				1,
				I2C_FIRST_AND_LAST_FRAME
				);
	}
}

void HAL_I2C_SlaveRxCpltCallback(I2C_HandleTypeDef *hi2c)
{
    if (hi2c->Instance != I2C1)
        return;

    // Primeiro byte: indice do registrador
    if (rx_bytes_count == 0)
    {
        reg_index = rx_byte;
    }

    // Segundo byte: byte alto
    else if (rx_bytes_count == 1)
    {
		reg_to_update = reg_index;
		value_to_update = rx_byte;
		has_update = 1;
    }

    rx_bytes_count++;

    // Após receber os três bytes, volta a esperar uma nova escrita.
    if (rx_bytes_count >= 2)
    {
        rx_bytes_count = 0;
    }

    HAL_I2C_Slave_Seq_Receive_IT(hi2c, &rx_byte, 1,
                                 I2C_NEXT_FRAME);
}

void HAL_I2C_ListenCpltCallback(I2C_HandleTypeDef *hi2c)
{
    if (hi2c->Instance != I2C1)
        return;

    HAL_I2C_EnableListen_IT(hi2c);
}

void HAL_GPIO_EXTI_Rising_Callback(uint16_t GPIO_Pin)
{
	if (GPIO_Pin == EXTI_FAULT_Pin)
	{
		Board_Status_Clear_Flag(BOARD_STATUS_FAULT);
	}
	else if (GPIO_Pin == EXTI_DONE_Pin)
	{
		Board_Status_Clear_Flag(BOARD_STATUS_DONE);
	}
}

void HAL_GPIO_EXTI_Falling_Callback(uint16_t GPIO_Pin)
{
	if (GPIO_Pin == EXTI_FAULT_Pin)
	{
		Board_Status_Set_Flag(BOARD_STATUS_FAULT);
	}
	else if (GPIO_Pin == EXTI_DONE_Pin)
	{
		Board_Status_Set_Flag(BOARD_STATUS_DONE);
	}
}

void HAL_TIM_PeriodElapsedCallback(TIM_HandleTypeDef *htim)
{
    if (htim->Instance == TIM3)
    {
        kick_finished = 1;
        Board_Kick_Stop();
    }
}

/* USER CODE END 4 */

void Error_Handler(void)
{
  __disable_irq();
  while (1)
  {
  }
}
